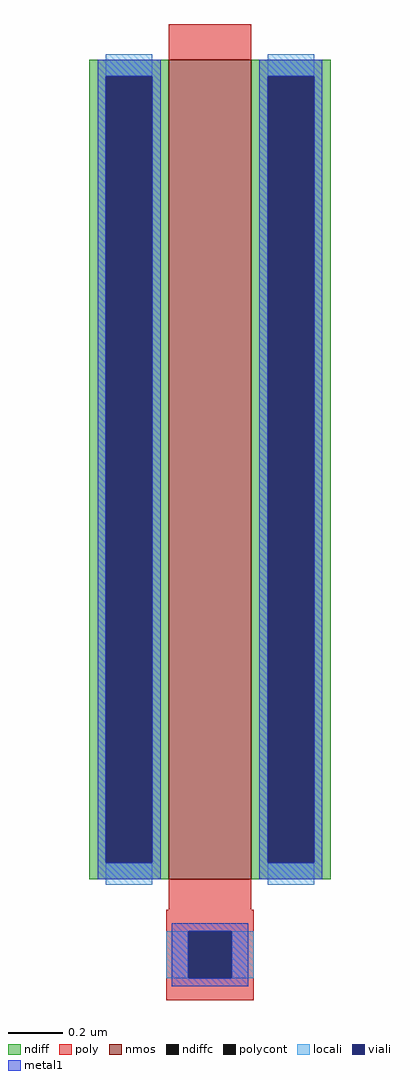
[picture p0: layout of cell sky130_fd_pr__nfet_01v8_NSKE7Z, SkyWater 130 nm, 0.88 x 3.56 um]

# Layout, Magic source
magic
tech sky130A
<< nmos >>
rect -15 -134 15 165
<< ndiff >>
rect -44 159 -15 165
rect -44 -128 -38 159
rect -21 -128 -15 159
rect -44 -134 -15 -128
rect 15 159 44 165
rect 15 -128 21 159
rect 38 -128 44 159
rect 15 -134 44 -128
<< ndiffc >>
rect -38 -128 -21 159
rect 21 -128 38 159
<< poly >>
rect -15 165 15 178
rect -15 -145 15 -134
rect -16 -153 16 -145
rect -16 -170 -8 -153
rect 8 -170 16 -153
rect -16 -178 16 -170
<< polycont >>
rect -8 -170 8 -153
<< locali >>
rect -38 159 -21 167
rect -38 -136 -21 -128
rect 21 159 38 167
rect 21 -136 38 -128
rect -16 -170 -8 -153
rect 8 -170 16 -153
<< viali >>
rect -38 -128 -21 159
rect 21 -128 38 159
rect -8 -170 8 -153
<< metal1 >>
rect -41 159 -18 165
rect -41 -128 -38 159
rect -21 -128 -18 159
rect -41 -134 -18 -128
rect 18 159 41 165
rect 18 -128 21 159
rect 38 -128 41 159
rect 18 -134 41 -128
rect -14 -153 14 -150
rect -14 -170 -8 -153
rect 8 -170 14 -153
rect -14 -173 14 -170
<< properties >>
string gencell sky130_fd_pr__nfet_01v8
string library sky130
string parameters w 3.0 l 0.3 m 1 nf 1 diffcov 100 polycov 100 guard 0 glc 0 grc 0 gtc 0 gbc 0 tbcov 100 rlcov 100 topc 0 botc 1 poverlap 0 doverlap 1 lmin 0.15 wmin 0.42 compatible {sky130_fd_pr__nfet_01v8 sky130_fd_pr__nfet_01v8_lvt  sky130_fd_bs_flash__special_sonosfet_star  sky130_fd_pr__nfet_g5v0d10v5 sky130_fd_pr__nfet_05v0_nvt  sky130_fd_pr__nfet_03v3_nvt} full_metal 0 viasrc 100 viadrn 100 viagate 100 viagb 0 viagr 0 viagl 0 viagt 0
<< end >>
